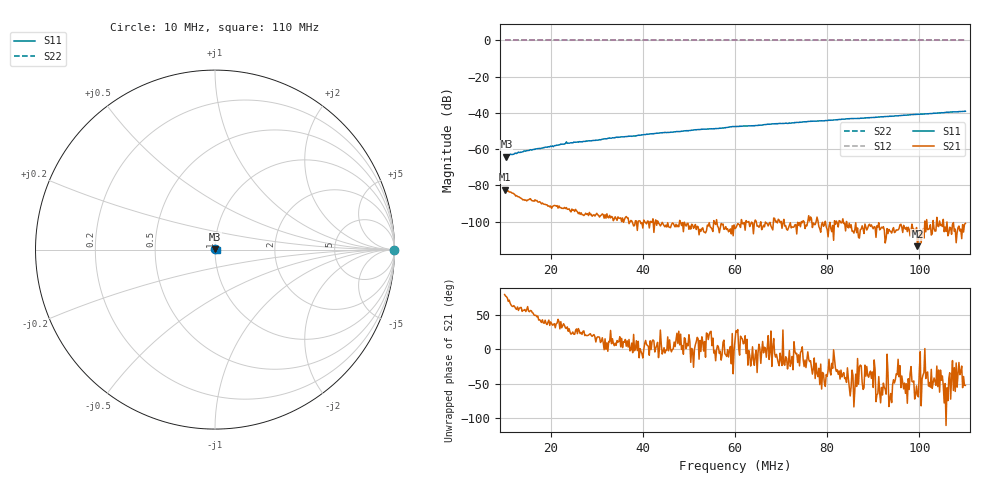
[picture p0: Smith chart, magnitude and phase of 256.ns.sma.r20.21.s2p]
! Anritsu VNA Master:  Model: MS2036C/10/77
! SN:  1601066
! /card0/usr/256.ns.sma.r20.21.s2p
! Existing Calibration Information:
! TYPE:  Current Settings,  Active Cal Settings
! TIME:  12/19/2017 03:48:17 PM,  12/19/2017 03:30:41 PM
! INTERNAL TEMP:  47.3 C,  48.0 C
! # POINTS:  501,  501
! START FREQ:  10.000 MHz,  10.000 MHz
! STOP FREQ:  110.000 MHz,  110.000 MHz
! SOURCE POWER:  High,  High
! IFBW:  100 Hz,  100 Hz
! AVG FACTOR:  1 ,  1
! REF PLANE 1:  0 mm,  0 mm
! REF PLANE 2:  0 mm,  0 mm
! CAL TYPE:  Full S11,  Full S11
! CAL METHOD:  SOLT,  SOLT
! CAL LINE TYPE:  Coax,  Coax
! DUT PORT 1:  N-Conn(F),  N-Conn(F)
! DUT PORT 2:  K-Conn(F),  K-Conn(F)
! CAL STATUS:  OK: Accuracy High,  --
# GHZ S DB R 50.0
! FREQ.GHZ  S11DB  S11A  S21DB  S21A  S12DB  S12A  S22DB  S22A
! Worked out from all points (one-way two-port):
!   501 points, 10 MHz to 110 MHz, reference 50 ohm
!   highest |S21| = -82.36 dB at 10 MHz (marker M1); lowest = -113.6 dB at 99.6 MHz (marker M2)
!   lowest |S11| = -64.1 dB at 10.4 MHz (marker M3), VSWR 1.00, Z = 50 + j0.0621 ohm
!   |S11| at or under -10 dB: start of sweep to end of sweep
!   |S22| runs from 0.0 to 0.0 dB; largest |S21 - S12| = 1
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0.01  -63.76 89.7  -82.36 78.9  0.00 0.0  0.00 0.0
0.0104  -64.14 91.9  -82.95 75.8  0.00 0.0  0.00 0.0
0.0146  -61.17 82.7  -88.07 54.4  0.00 0.0  0.00 0.0
0.0206  -58.64 74.9  -91.36 35.5  0.00 0.0  0.00 0.0
0.0234  -56.03 71.5  -92.30 29.7  0.00 0.0  0.00 0.0
0.0268  -55.97 68.4  -96.22 21.3  0.00 0.0  0.00 0.0
0.0306  -54.79 65.0  -97.55 17.3  0.00 0.0  0.00 0.0
0.0346  -53.52 62.0  -97.46 10.0  0.00 0.0  0.00 0.0
0.038  -52.74 58.5  -102.45 21.3  0.00 0.0  0.00 0.0
0.0434  -51.17 54.2  -100.99 -12.2  0.00 0.0  0.00 0.0
0.0528  -49.09 45.6  -103.97 17.8  0.00 0.0  0.00 0.0
0.0564  -48.56 42.9  -103.38 3.1  0.00 0.0  0.00 0.0
0.06  -47.51 38.8  -103.91 12.2  0.00 0.0  0.00 0.0
0.064  -47.11 36.1  -106.78 -15.3  0.00 0.0  0.00 0.0
0.0674  -46.32 33.0  -101.08 -14.8  0.00 0.0  0.00 0.0
0.0718  -45.58 28.8  -102.10 -1.9  0.00 0.0  0.00 0.0
0.0768  -44.59 24.1  -103.32 -36.0  0.00 0.0  0.00 0.0
0.0794  -44.39 21.8  -101.85 -49.0  0.00 0.0  0.00 0.0
0.0846  -43.25 16.8  -103.51 -42.5  0.00 0.0  0.00 0.0
0.0934  -41.92 8.5  -104.36 -82.9  0.00 0.0  0.00 0.0
0.0996  -40.80 1.4  -113.62 -66.1  0.00 0.0  0.00 0.0
0.11  -39.10 -9.9  -101.03 -52.4  0.00 0.0  0.00 0.0
